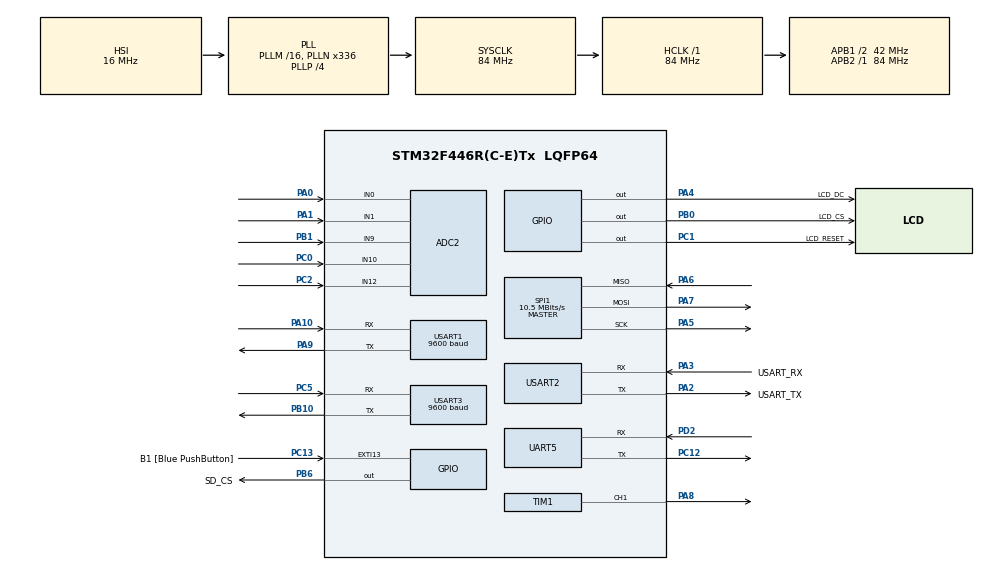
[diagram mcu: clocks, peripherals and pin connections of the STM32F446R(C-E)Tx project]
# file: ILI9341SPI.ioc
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ADC2.Channel-0\#ChannelRegularConversion=ADC_CHANNEL_0
ADC2.Channel-1\#ChannelRegularConversion=ADC_CHANNEL_1
ADC2.Channel-2\#ChannelRegularConversion=ADC_CHANNEL_9
ADC2.Channel-3\#ChannelRegularConversion=ADC_CHANNEL_10
ADC2.Channel-4\#ChannelRegularConversion=ADC_CHANNEL_12
ADC2.ClockPrescaler=ADC_CLOCK_SYNC_PCLK_DIV8
ADC2.ContinuousConvMode=ENABLE
ADC2.DMAContinuousRequests=ENABLE
ADC2.DiscontinuousConvMode=DISABLE
ADC2.EOCSelection=ADC_EOC_SEQ_CONV
ADC2.ExternalTrigConv=ADC_SOFTWARE_START
ADC2.InjNumberOfConversion=0
ADC2.NbrOfConversion=5
ADC2.NbrOfConversionFlag=1
ADC2.Rank-0\#ChannelRegularConversion=1
ADC2.Rank-1\#ChannelRegularConversion=2
ADC2.Rank-2\#ChannelRegularConversion=3
ADC2.Rank-3\#ChannelRegularConversion=4
ADC2.Rank-4\#ChannelRegularConversion=5
ADC2.SamplingTime-0\#ChannelRegularConversion=ADC_SAMPLETIME_480CYCLES
ADC2.SamplingTime-1\#ChannelRegularConversion=ADC_SAMPLETIME_480CYCLES
ADC2.SamplingTime-2\#ChannelRegularConversion=ADC_SAMPLETIME_480CYCLES
ADC2.SamplingTime-3\#ChannelRegularConversion=ADC_SAMPLETIME_480CYCLES
ADC2.SamplingTime-4\#ChannelRegularConversion=ADC_SAMPLETIME_480CYCLES
ADC2.ScanConvMode=ENABLE
Dma.ADC2.1.Direction=DMA_PERIPH_TO_MEMORY
Dma.ADC2.1.FIFOMode=DMA_FIFOMODE_DISABLE
Dma.ADC2.1.Instance=DMA2_Stream2
Dma.ADC2.1.MemDataAlignment=DMA_MDATAALIGN_HALFWORD
Dma.ADC2.1.MemInc=DMA_MINC_ENABLE
Dma.ADC2.1.Mode=DMA_CIRCULAR
Dma.ADC2.1.PeriphDataAlignment=DMA_PDATAALIGN_HALFWORD
Dma.ADC2.1.PeriphInc=DMA_PINC_DISABLE
Dma.ADC2.1.Priority=DMA_PRIORITY_LOW
Dma.Request0=SPI1_TX
Dma.Request1=ADC2
Dma.Request2=TIM1_CH1
Dma.SPI1_TX.0.Direction=DMA_MEMORY_TO_PERIPH
Dma.SPI1_TX.0.FIFOMode=DMA_FIFOMODE_DISABLE
Dma.SPI1_TX.0.Instance=DMA2_Stream3
Dma.SPI1_TX.0.MemDataAlignment=DMA_MDATAALIGN_BYTE
Dma.SPI1_TX.0.MemInc=DMA_MINC_ENABLE
Dma.SPI1_TX.0.Mode=DMA_NORMAL
Dma.SPI1_TX.0.PeriphDataAlignment=DMA_PDATAALIGN_BYTE
Dma.SPI1_TX.0.PeriphInc=DMA_PINC_DISABLE
Dma.SPI1_TX.0.Priority=DMA_PRIORITY_HIGH
Dma.TIM1_CH1.2.Direction=DMA_PERIPH_TO_MEMORY
Dma.TIM1_CH1.2.FIFOMode=DMA_FIFOMODE_DISABLE
Dma.TIM1_CH1.2.Instance=DMA2_Stream1
Dma.TIM1_CH1.2.MemDataAlignment=DMA_MDATAALIGN_HALFWORD
Dma.TIM1_CH1.2.MemInc=DMA_MINC_ENABLE
Dma.TIM1_CH1.2.Mode=DMA_NORMAL
Dma.TIM1_CH1.2.PeriphDataAlignment=DMA_PDATAALIGN_HALFWORD
Dma.TIM1_CH1.2.PeriphInc=DMA_PINC_DISABLE
Dma.TIM1_CH1.2.Priority=DMA_PRIORITY_LOW
FATFS._MAX_SS=4096
FATFS._USE_LFN=1
Mcu.Family=STM32F4
Mcu.Name=STM32F446R(C-E)Tx
Mcu.Package=LQFP64
NVIC.DMA2_Stream1_IRQn=true\:0\:0\:false\:false\:true\:false\:true\:true
NVIC.DMA2_Stream2_IRQn=true\:0\:0\:false\:false\:true\:false\:true\:true
NVIC.DMA2_Stream3_IRQn=true\:0\:0\:false\:false\:true\:false\:true\:true
NVIC.PriorityGroup=NVIC_PRIORITYGROUP_0
NVIC.USART1_IRQn=true\:0\:0\:false\:false\:true\:true\:true\:true
NVIC.USART2_IRQn=true\:0\:0\:false\:false\:true\:true\:true\:true
NVIC.USART3_IRQn=true\:0\:0\:false\:false\:true\:true\:true\:true
PA0-WKUP.Signal=ADCx_IN0
PA1.Signal=ADCx_IN1
PA10.Mode=Asynchronous
PA10.Signal=USART1_RX
PA13.GPIO_Label=TMS
PA13.Mode=Serial_Wire
PA13.Signal=SYS_JTMS-SWDIO
PA14.GPIO_Label=TCK
PA14.Mode=Serial_Wire
PA14.Signal=SYS_JTCK-SWCLK
PA2.GPIO_Label=USART_TX
PA2.Mode=Asynchronous
PA2.Signal=USART2_TX
PA3.GPIO_Label=USART_RX
PA3.Mode=Asynchronous
PA3.Signal=USART2_RX
PA4.GPIO_Label=LCD_DC
PA4.GPIO_Speed=GPIO_SPEED_FREQ_MEDIUM
PA4.Signal=GPIO_Output
PA5.Mode=Full_Duplex_Master
PA5.Signal=SPI1_SCK
PA6.Mode=Full_Duplex_Master
PA6.Signal=SPI1_MISO
PA7.Mode=Full_Duplex_Master
PA7.Signal=SPI1_MOSI
PA8.Signal=S_TIM1_CH1
PA9.Mode=Asynchronous
PA9.Signal=USART1_TX
PB0.GPIO_Label=LCD_CS
PB0.GPIO_Speed=GPIO_SPEED_FREQ_MEDIUM
PB0.Signal=GPIO_Output
PB1.Signal=ADCx_IN9
PB10.Mode=Asynchronous
PB10.Signal=USART3_TX
PB3.GPIO_Label=SWO
PB3.Signal=SYS_JTDO-SWO
PB6.GPIO_Label=SD_CS
PB6.GPIO_Speed=GPIO_SPEED_FREQ_MEDIUM
PB6.Signal=GPIO_Output
PC0.Signal=ADCx_IN10
PC1.GPIO_Label=LCD_RESET
PC1.GPIO_Speed=GPIO_SPEED_FREQ_MEDIUM
PC1.Signal=GPIO_Output
PC12.Mode=Asynchronous
PC12.Signal=UART5_TX
PC13.GPIO_Label=B1 [Blue PushButton]
PC13.GPIO_ModeDefaultEXTI=GPIO_MODE_IT_FALLING
PC13.Signal=GPXTI13
PC14-OSC32_IN.Mode=LSE-External-Oscillator
PC14-OSC32_IN.Signal=RCC_OSC32_IN
PC15-OSC32_OUT.Mode=LSE-External-Oscillator
PC15-OSC32_OUT.Signal=RCC_OSC32_OUT
PC2.Signal=ADCx_IN12
PC5.Mode=Asynchronous
PC5.Signal=USART3_RX
PD2.Mode=Asynchronous
PD2.Signal=UART5_RX
PH0-OSC_IN.Mode=HSE-External-Oscillator
PH0-OSC_IN.Signal=RCC_OSC_IN
PH1-OSC_OUT.Mode=HSE-External-Oscillator
PH1-OSC_OUT.Signal=RCC_OSC_OUT
ProjectManager.HeapSize=0x200
ProjectManager.StackSize=0x400
ProjectManager.TargetToolchain=STM32CubeIDE
RCC.48MHZClocksFreq_Value=84000000
RCC.AHBFreq_Value=84000000
RCC.APB1CLKDivider=RCC_HCLK_DIV2
RCC.APB1Freq_Value=42000000
RCC.APB1TimFreq_Value=84000000
RCC.APB2Freq_Value=84000000
RCC.APB2TimFreq_Value=84000000
RCC.CortexFreq_Value=84000000
RCC.FLatency-AdvancedSettings=FLASH_LATENCY_2
RCC.HCLKFreq_Value=84000000
RCC.HSE_VALUE=8000000
RCC.HSI_VALUE=16000000
RCC.PLLN=336
RCC.PLLP=RCC_PLLP_DIV4
RCC.SYSCLKFreq_VALUE=84000000
RCC.SYSCLKSource=RCC_SYSCLKSOURCE_PLLCLK
RCC.USBFreq_Value=168000000
RCC.VCOOutputFreq_Value=336000000
SH.ADCx_IN0.0=ADC2_IN0,IN0
SH.ADCx_IN1.0=ADC2_IN1,IN1
SH.ADCx_IN10.0=ADC2_IN10,IN10
SH.ADCx_IN12.0=ADC2_IN12,IN12
SH.ADCx_IN9.0=ADC2_IN9,IN9
SH.S_TIM1_CH1.0=TIM1_CH1,PWM Generation1 CH1
SPI1.BaudRatePrescaler=SPI_BAUDRATEPRESCALER_8
SPI1.CalculateBaudRate=10.5 MBits/s
SPI1.Direction=SPI_DIRECTION_2LINES
SPI1.Mode=SPI_MODE_MASTER
SPI1.VirtualType=VM_MASTER
TIM1.Channel-PWM\ Generation1\ CH1=TIM_CHANNEL_1
TIM1.Period=105-1
UART5.VirtualMode=Asynchronous
USART1.BaudRate=9600
USART1.VirtualMode=VM_ASYNC
USART2.VirtualMode=VM_ASYNC
USART3.BaudRate=9600
USART3.VirtualMode=VM_ASYNC
VP_FATFS_VS_Generic.Mode=User_defined
VP_TIM1_VS_ClockSourceINT.Mode=Internal
board=NUCLEO-F446RE

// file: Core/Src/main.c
/* USER CODE BEGIN Header */
/*
 * Este código es la pantalla del videojuego proyecto 2 de electronica digital 2
 * Para este código se implementaron varios conceptos aprendidos en clase
 */
/**
 ******************************************************************************
 * @file           : main.c
 * @brief          : Main program body
 ******************************************************************************
 * @attention
 *
 * Copyright (c) 2024 STMicroelectronics.
 * All rights reserved.
 *
 * This software is licensed under terms that can be found in the LICENSE file
 * in the root directory of this software component.
 * If no LICENSE file comes with this software, it is provided AS-IS.
 *
 ******************************************************************************
 */
/* USER CODE END Header */
#include "main.h"
#include "fatfs.h"

/* USER CODE BEGIN Includes */
//Se incluyen todas las librerias que se van a utilizar.
#include "fatfs_sd.h"
#include "ili9341.h"
#include "bitmaps.h"
#include <stdio.h>
#include <string.h>
#include <stdlib.h>

#include "neopixel.h"
/* USER CODE END Includes */

/* USER CODE BEGIN PTD */
uint8_t dma_libre = 1;
uint8_t cant_cars = 0;
//uint8_t PosCars = 0;
uint8_t sot2 = 0;

uint8_t cant1 = 0;
uint8_t cant2 = 0;

char num;

uint16_t park[68*20];
uint16_t carA[246*68];
uint16_t he[183*80];

uint8_t park1A = 0;
uint8_t park2A = 0;
uint8_t park3A = 0;
uint8_t park4A = 0;
uint8_t park5A = 0;

uint8_t park1B = 0;
uint8_t park2B = 0;
uint8_t park3B = 0;
uint8_t park4B = 0;
uint8_t park5B = 0;
/* USER CODE END PTD */

ADC_HandleTypeDef hadc2;
DMA_HandleTypeDef hdma_adc2;

SPI_HandleTypeDef hspi1;
DMA_HandleTypeDef hdma_spi1_tx;

TIM_HandleTypeDef htim1;
DMA_HandleTypeDef hdma_tim1_ch1;

UART_HandleTypeDef huart5;
UART_HandleTypeDef huart1;
UART_HandleTypeDef huart2;
UART_HandleTypeDef huart3;

/* USER CODE BEGIN PV */
volatile uint16_t ADCVal[5];
volatile uint16_t sotB[4];
volatile uint8_t adc_index = 0;
float brilloled;

/* USER CODE END PV */

void SystemClock_Config(void);
static void MX_GPIO_Init(void);
static void MX_DMA_Init(void);
static void MX_USART2_UART_Init(void);
static void MX_SPI1_Init(void);
static void MX_USART1_UART_Init(void);
static void MX_USART3_UART_Init(void);
static void MX_UART5_Init(void);
static void MX_ADC2_Init(void);
static void MX_TIM1_Init(void);

/* USER CODE BEGIN 0 */

//********************************FUNCIONES VARIAS *********************************//
//-------------------Función para var cantidad de parqueos libres ----------------------

void parqueos_disponiblesA(uint8_t cant)
{
	if(cant == 0)
	{
		LCD_Print("4", 270, 140, 2, 0x053d, 0xe71c);
	}
	else if (cant == 1)
	{
		LCD_Print("3", 270, 140, 2, 0x053d, 0xe71c);
	}
	else if (cant == 2)
		{
		LCD_Print("2", 270, 140, 2, 0x053d, 0xe71c);
		}
	else if (cant == 3)
		{
		LCD_Print("1", 270, 140, 2, 0x053d, 0xe71c);
		}
	else if (cant == 4)
		{
		LCD_Print("0", 270, 140, 2, 0x053d, 0xe71c);
		}
	//Logica de envio de datos a la LCD o Display
}

void parqueos_disponiblesB(uint8_t cant)
{
	if (cant == 0)
		{
			LCD_Print("4", 270, 177, 2, 0x053d, 0xe71c);
		}
	else if (cant == 1)
		{
			LCD_Print("3",270, 177, 2, 0x053d, 0xe71c);
		}
	else if (cant == 2)
		{
			LCD_Print("2",270, 177, 2, 0x053d, 0xe71c);
		}
	else if (cant == 3)
		{
			LCD_Print("1",270, 177, 2, 0x053d, 0xe71c);
		}
	else if (cant == 4)
		{
			LCD_Print("0",270, 177, 2, 0x053d, 0xe71c);
		}
}

void borrar_sprite(int x, int y, int w, int h)
{
    for (int j = 0; j < h; j++)
    {
        for (int i = 0; i < w; i++)
        {
            uint16_t pixel = parking[(y + j) * 320 + (x + i)];
            park[j * w + i] = (pixel << 8) | (pixel >> 8);
        }
    }

    while(!dma_libre);
    dma_libre = 0;
    LCD_Bitmap_DMA(x, y, w, h, park);

}

void actualizar_leds(void)
{
    // Parqueos A
    for (int i = 0; i < 5; i++)
    {
        if (ADCVal[i] < 1600) // ocupado
        {
            setPixelColor(i, 255, 0, 0); // ROJO
        }
        else
        {
            setPixelColor(i, 0, 255, 0); // VERDE
        }
    }
    pixelShow();
}

/* USER CODE END 0 */

int main(void)
{

  /* MCU Configuration--------------------------------------------------------*/

  /* Reset of all peripherals, Initializes the Flash interface and the Systick. */
  HAL_Init();

  /* Configure the system clock */
  SystemClock_Config();

  /* Initialize all configured peripherals */
  MX_GPIO_Init();
  MX_DMA_Init();
  MX_USART2_UART_Init();
  MX_SPI1_Init();
  MX_USART1_UART_Init();
  MX_USART3_UART_Init();
  MX_FATFS_Init();
  MX_UART5_Init();
  MX_ADC2_Init();
  MX_TIM1_Init();
  /* USER CODE BEGIN 2 */
	LCD_Init();
	LCD_Clear(0x00);

	HAL_TIM_PWM_Start(&htim1, TIM_CHANNEL_1);
	HAL_ADC_Start_DMA(&hadc2, (uint32_t *)ADCVal, 5);
	LCD_Bitmap(0, 0, 320, 240, parking);
	LCD_Print("0", 270, 140, 2, 0x053d, 0xe71c); // Numero inicial en A
	LCD_Print("0", 270, 177, 2, 0x053d, 0xe71c); // Numero inicial en B

	LCD_DibujarSpriteUniversal(260, 205, 34, 20, semaforo, 1, 68, parking, 320, 0xe71c, park);

	pixelClear();
	setBrightness(50); // o el valor que quieras
	pixelShow();

  /* USER CODE END 2 */

  /* Infinite loop */
  /* USER CODE BEGIN WHILE */
	uint32_t ultimo_print_uart = 0;

	char uart_buf[100];

	while (1) {
		//Logica para detección parqueo ocupado y Animació

	if (HAL_GetTick() - ultimo_print_uart >= 500) {
				ultimo_print_uart = HAL_GetTick();

				sprintf(uart_buf, "CH0: %u | CH1: %u | CH9: %u | CH10: %u\r\n",
						ADCVal[0], ADCVal[1], ADCVal[2], ADCVal[3]);

				HAL_UART_Transmit(&huart2, (uint8_t *)uart_buf, strlen(uart_buf), 100);
			}
	//-------------------------Parqueo A1 animación--------------------------
	if (ADCVal[0]<1600)
	{
		if (park1A == 0)
		{
			uint8_t val = rand() % 6;
			park1A = 1;
			LCD_DibujarSpriteUniversal(12, 10, 41, 68, carroA, val, 246, parking, 320, 0xa501, carA);
			LCD_DibujarSpriteUniversal(14, 90, 34, 20, semaforo, 0, 68, parking, 320, 0xe71c, park);
			cant1++;
			parqueos_disponiblesA(cant1);
		}
	}

	else if (ADCVal[0]>1800)
	{
		if (park1A == 1)
		{
			park1A = 0;
			borrar_sprite(12, 10, 41, 68);
			LCD_DibujarSpriteUniversal(14, 90, 34, 20, semaforo, 1, 68, parking, 320, 0xe71c, park);
			cant1--;
			parqueos_disponiblesA(cant1);
		}

	}

	//-------------------------Parqueo A2 animación--------------------------
	if (ADCVal[1]<1600)
	{
		if (park2A == 0)
		{
			park2A = 1;
			uint8_t val = rand() % 6;
			LCD_DibujarSpriteUniversal(60, 10, 41, 68, carroA, val, 246, parking, 320, 0xa501, carA);
			LCD_DibujarSpriteUniversal(65, 90, 34, 20, semaforo, 0, 68, parking, 320, 0xe71c, park);
			cant1++;
			parqueos_disponiblesA(cant1);
		}
	}

	else if (ADCVal[1]>1600)
	{
		if (park2A == 1)
		{
			park2A = 0;
			borrar_sprite(60, 10, 41, 68);
			LCD_DibujarSpriteUniversal(65, 90, 34, 20, semaforo, 1, 68, parking, 320, 0xe71c, park);
			cant1--;
			parqueos_disponiblesA(cant1);
		}
	}

	//-------------------------Parqueo A3 animación--------------------------
	if (ADCVal[2]<1500)
	{
		if (park3A == 0)
		{
			uint8_t val = rand() % 6;
			park3A = 1;
			LCD_DibujarSpriteUniversal(109, 10, 41, 68, carroA, val, 246, parking, 320, 0xa501, carA);
			LCD_DibujarSpriteUniversal(112, 90, 34, 20, semaforo, 0, 68, parking, 320, 0xe71c, park);
			cant1++;
			parqueos_disponiblesA(cant1);
		}
	}

	else if (ADCVal[2]>1500)
	{
		if (park3A == 1)
		{
			park3A = 0;
			borrar_sprite(109, 10, 41, 68);
			LCD_DibujarSpriteUniversal(112, 90, 34, 20, semaforo, 1, 68, parking, 320, 0xe71c, park);
			cant1--;
			parqueos_disponiblesA(cant1);
		}
	}

	//-------------------------Parqueo A4 animación--------------------------
	if (ADCVal[3]<1500)
	{
		if (park4A == 0)
		{
			uint8_t val = rand() % 6;
			park4A = 1;
			LCD_DibujarSpriteUniversal(156, 10, 41, 68, carroA, val, 246, parking, 320, 0xa501, carA);
			LCD_DibujarSpriteUniversal(160, 90, 34, 20, semaforo, 0, 68, parking, 320, 0xe71c, park);
			cant1++;
			parqueos_disponiblesA(cant1);
		}
	}

	else if (ADCVal[3]>1500)
	{
		if (park4A == 1)
		{
			park4A = 0;
			borrar_sprite(156, 10, 41, 68);
			LCD_DibujarSpriteUniversal(160, 90, 34, 20, semaforo, 1, 68, parking, 320, 0xe71c, park);
			cant1--;
			parqueos_disponiblesA(cant1);
		}
	}

	//-------------------------Parqueo Helipuerto animación--------------------------
	if (ADCVal[4]<1500)
		{
			if (park5A == 0)
			{
				park5A = 1;
				LCD_DibujarSpriteUniversal(232, 10, 61, 80, helicop, 1, 183, parking, 320, 0xa501, he);
				LCD_DibujarSpriteUniversal(260, 205, 34, 20, semaforo, 0, 68, parking, 320, 0xe71c, park);
			}

			//parqueos_disponiblesA(cant1);
		}

	else if (ADCVal[4]>1500)
	{
		if (park5A == 1)
		{
			park5A = 0;
			borrar_sprite(232, 10, 61, 80);
			LCD_DibujarSpriteUniversal(260, 205, 34, 20, semaforo, 1, 68, parking, 320, 0xe71c, park);
		}

	}

	//-------------------------Parqueo B1 animación--------------------------
	if (sotB[0] == 1)
		{
			if (park1B == 0)
			{
				uint8_t val = rand() % 6;
				park1B = 1;
				LCD_DibujarSpriteUniversal(9, 163, 41, 68, carroB, val, 246, parking, 320, 0xa501, carA);
				LCD_DibujarSpriteUniversal(12, 130, 34, 20, semaforo, 0, 68, parking, 320, 0xe71c, park);
				cant2++;
				parqueos_disponiblesB(cant2);
			}
		}

		else if (sotB[0] == 0)
		{
			if (park1B == 1)
			{
				park1B = 0;
				borrar_sprite(9, 163, 41, 68);
				//LCD_DibujarSpriteUniversal(60, 10, 41, 68, carroB, 2, 246, parking, 320, 0x8410, carB);
				LCD_DibujarSpriteUniversal(12, 130, 34, 20, semaforo, 1, 68, parking, 320, 0xe71c, park);
				cant2--;
				parqueos_disponiblesB(cant2);
			}
		}

	//-------------------------Parqueo B2 animación--------------------------
		if (sotB[1] == 1)
		{
			if (park2B == 0)
			{
				park2B = 1;
				uint8_t val = rand() % 6;
				LCD_DibujarSpriteUniversal(58, 163, 41, 68, carroB, val, 246, parking, 320, 0xa501, carA);
				LCD_DibujarSpriteUniversal(63, 130, 34, 20, semaforo, 0, 68, parking, 320, 0xe71c, park);
				cant2++;
				parqueos_disponiblesB(cant2);
			}
		}

		else if (sotB[1] == 0)
		{
			if (park2B == 1)
			{
				park2B = 0;
				borrar_sprite(58, 163, 41, 68);
				LCD_DibujarSpriteUniversal(63, 130, 34, 20, semaforo, 1, 68, parking, 320, 0xe71c, park);
				cant2--;
				parqueos_disponiblesB(cant2);
			}
		}

	//-------------------------Parqueo B3 animación--------------------------
		if (sotB[2] == 1)
		{
			if (park3B == 0)
			{
				uint8_t val = rand() % 6;
				park3B = 1;
				LCD_DibujarSpriteUniversal(107, 163, 41, 68, carroB, val, 246, parking, 320, 0xa501, carA);
				LCD_DibujarSpriteUniversal(110, 130, 34, 20, semaforo, 0, 68, parking, 320, 0xe71c, park);
				cant2++;
				parqueos_disponiblesB(cant2);
			}
		}

		else if (sotB[2] == 0)
		{
			if (park3B == 1)
			{
				park3B = 0;
				borrar_sprite(107, 163, 41, 68);
				LCD_DibujarSpriteUniversal(110, 130, 34, 20, semaforo, 1, 68, parking, 320, 0xe71c, park);
				cant2--;
				parqueos_disponiblesB(cant2);
			}
		}

		//-------------------------Parqueo B4 animación--------------------------
		if (sotB[3] == 1)
		{
			if (park4B == 0)
			{
				uint8_t val = rand() % 6;
				park4B = 1;
				LCD_DibujarSpriteUniversal(155, 163, 41, 68, carroB, val, 246, parking, 320, 0xa501, carA);
				LCD_DibujarSpriteUniversal(158, 130, 34, 20, semaforo, 0, 68, parking, 320, 0xe71c, park);
				cant2++;
				parqueos_disponiblesB(cant2);
			}
		}

		else if (sotB[3] == 0)
		{
			if (park4B == 1)
			{
				park4B = 0;
				borrar_sprite(155, 163, 41, 68);
				LCD_DibujarSpriteUniversal(158, 130, 34, 20, semaforo, 1, 68, parking, 320, 0xe71c, park);
				cant2--;
				parqueos_disponiblesB(cant2);
			}
		}

		actualizar_leds();
    /* USER CODE END WHILE */

	}
}

void SystemClock_Config(void)
{
  RCC_OscInitTypeDef RCC_OscInitStruct = {0};
  RCC_ClkInitTypeDef RCC_ClkInitStruct = {0};

  /** Configure the main internal regulator output voltage
  */
  __HAL_RCC_PWR_CLK_ENABLE();
  __HAL_PWR_VOLTAGESCALING_CONFIG(PWR_REGULATOR_VOLTAGE_SCALE3);

  /** Initializes the RCC Oscillators according to the specified parameters
  * in the RCC_OscInitTypeDef structure.
  */
  RCC_OscInitStruct.OscillatorType = RCC_OSCILLATORTYPE_HSI;
  RCC_OscInitStruct.HSIState = RCC_HSI_ON;
  RCC_OscInitStruct.HSICalibrationValue = RCC_HSICALIBRATION_DEFAULT;
  RCC_OscInitStruct.PLL.PLLState = RCC_PLL_ON;
  RCC_OscInitStruct.PLL.PLLSource = RCC_PLLSOURCE_HSI;
  RCC_OscInitStruct.PLL.PLLM = 16;
  RCC_OscInitStruct.PLL.PLLN = 336;
  RCC_OscInitStruct.PLL.PLLP = RCC_PLLP_DIV4;
  RCC_OscInitStruct.PLL.PLLQ = 2;
  RCC_OscInitStruct.PLL.PLLR = 2;
  if (HAL_RCC_OscConfig(&RCC_OscInitStruct) != HAL_OK)
  {
    Error_Handler();
  }

  /** Initializes the CPU, AHB and APB buses clocks
  */
  RCC_ClkInitStruct.ClockType = RCC_CLOCKTYPE_HCLK|RCC_CLOCKTYPE_SYSCLK
                              |RCC_CLOCKTYPE_PCLK1|RCC_CLOCKTYPE_PCLK2;
  RCC_ClkInitStruct.SYSCLKSource = RCC_SYSCLKSOURCE_PLLCLK;
  RCC_ClkInitStruct.AHBCLKDivider = RCC_SYSCLK_DIV1;
  RCC_ClkInitStruct.APB1CLKDivider = RCC_HCLK_DIV2;
  RCC_ClkInitStruct.APB2CLKDivider = RCC_HCLK_DIV1;

  if (HAL_RCC_ClockConfig(&RCC_ClkInitStruct, FLASH_LATENCY_2) != HAL_OK)
  {
    Error_Handler();
  }
}

static void MX_ADC2_Init(void)
{

  ADC_ChannelConfTypeDef sConfig = {0};

  /** Configure the global features of the ADC (Clock, Resolution, Data Alignment and number of conversion)
  */
  hadc2.Instance = ADC2;
  hadc2.Init.ClockPrescaler = ADC_CLOCK_SYNC_PCLK_DIV8;
  hadc2.Init.Resolution = ADC_RESOLUTION_12B;
  hadc2.Init.ScanConvMode = ENABLE;
  hadc2.Init.ContinuousConvMode = ENABLE;
  hadc2.Init.DiscontinuousConvMode = DISABLE;
  hadc2.Init.ExternalTrigConvEdge = ADC_EXTERNALTRIGCONVEDGE_NONE;
  hadc2.Init.ExternalTrigConv = ADC_SOFTWARE_START;
  hadc2.Init.DataAlign = ADC_DATAALIGN_RIGHT;
  hadc2.Init.NbrOfConversion = 5;
  hadc2.Init.DMAContinuousRequests = ENABLE;
  hadc2.Init.EOCSelection = ADC_EOC_SEQ_CONV;
  if (HAL_ADC_Init(&hadc2) != HAL_OK)
  {
    Error_Handler();
  }

  /** Configure for the selected ADC regular channel its corresponding rank in the sequencer and its sample time.
  */
  sConfig.Channel = ADC_CHANNEL_0;
  sConfig.Rank = 1;
  sConfig.SamplingTime = ADC_SAMPLETIME_480CYCLES;
  if (HAL_ADC_ConfigChannel(&hadc2, &sConfig) != HAL_OK)
  {
    Error_Handler();
  }

  /** Configure for the selected ADC regular channel its corresponding rank in the sequencer and its sample time.
  */
  sConfig.Channel = ADC_CHANNEL_1;
  sConfig.Rank = 2;
  if (HAL_ADC_ConfigChannel(&hadc2, &sConfig) != HAL_OK)
  {
    Error_Handler();
  }

  /** Configure for the selected ADC regular channel its corresponding rank in the sequencer and its sample time.
  */
  sConfig.Channel = ADC_CHANNEL_9;
  sConfig.Rank = 3;
  if (HAL_ADC_ConfigChannel(&hadc2, &sConfig) != HAL_OK)
  {
    Error_Handler();
  }

  /** Configure for the selected ADC regular channel its corresponding rank in the sequencer and its sample time.
  */
  sConfig.Channel = ADC_CHANNEL_10;
  sConfig.Rank = 4;
  if (HAL_ADC_ConfigChannel(&hadc2, &sConfig) != HAL_OK)
  {
    Error_Handler();
  }

  /** Configure for the selected ADC regular channel its corresponding rank in the sequencer and its sample time.
  */
  sConfig.Channel = ADC_CHANNEL_12;
  sConfig.Rank = 5;
  if (HAL_ADC_ConfigChannel(&hadc2, &sConfig) != HAL_OK)
  {
    Error_Handler();
  }

}

static void MX_SPI1_Init(void)
{

  /* SPI1 parameter configuration*/
  hspi1.Instance = SPI1;
  hspi1.Init.Mode = SPI_MODE_MASTER;
  hspi1.Init.Direction = SPI_DIRECTION_2LINES;
  hspi1.Init.DataSize = SPI_DATASIZE_8BIT;
  hspi1.Init.CLKPolarity = SPI_POLARITY_LOW;
  hspi1.Init.CLKPhase = SPI_PHASE_1EDGE;
  hspi1.Init.NSS = SPI_NSS_SOFT;
  hspi1.Init.BaudRatePrescaler = SPI_BAUDRATEPRESCALER_8;
  hspi1.Init.FirstBit = SPI_FIRSTBIT_MSB;
  hspi1.Init.TIMode = SPI_TIMODE_DISABLE;
  hspi1.Init.CRCCalculation = SPI_CRCCALCULATION_DISABLE;
  hspi1.Init.CRCPolynomial = 10;
  if (HAL_SPI_Init(&hspi1) != HAL_OK)
  {
    Error_Handler();
  }

}

static void MX_TIM1_Init(void)
{

  TIM_ClockConfigTypeDef sClockSourceConfig = {0};
  TIM_MasterConfigTypeDef sMasterConfig = {0};
  TIM_OC_InitTypeDef sConfigOC = {0};
  TIM_BreakDeadTimeConfigTypeDef sBreakDeadTimeConfig = {0};

  htim1.Instance = TIM1;
  htim1.Init.Prescaler = 0;
  htim1.Init.CounterMode = TIM_COUNTERMODE_UP;
  htim1.Init.Period = 105-1;
  htim1.Init.ClockDivision = TIM_CLOCKDIVISION_DIV1;
  htim1.Init.RepetitionCounter = 0;
  htim1.Init.AutoReloadPreload = TIM_AUTORELOAD_PRELOAD_DISABLE;
  if (HAL_TIM_Base_Init(&htim1) != HAL_OK)
  {
    Error_Handler();
  }
  sClockSourceConfig.ClockSource = TIM_CLOCKSOURCE_INTERNAL;
  if (HAL_TIM_ConfigClockSource(&htim1, &sClockSourceConfig) != HAL_OK)
  {
    Error_Handler();
  }
  if (HAL_TIM_PWM_Init(&htim1) != HAL_OK)
  {
    Error_Handler();
  }
  sMasterConfig.MasterOutputTrigger = TIM_TRGO_RESET;
  sMasterConfig.MasterSlaveMode = TIM_MASTERSLAVEMODE_DISABLE;
  if (HAL_TIMEx_MasterConfigSynchronization(&htim1, &sMasterConfig) != HAL_OK)
  {
    Error_Handler();
  }
  sConfigOC.OCMode = TIM_OCMODE_PWM1;
  sConfigOC.Pulse = 0;
  sConfigOC.OCPolarity = TIM_OCPOLARITY_HIGH;
  sConfigOC.OCNPolarity = TIM_OCNPOLARITY_HIGH;
  sConfigOC.OCFastMode = TIM_OCFAST_DISABLE;
  sConfigOC.OCIdleState = TIM_OCIDLESTATE_RESET;
  sConfigOC.OCNIdleState = TIM_OCNIDLESTATE_RESET;
  if (HAL_TIM_PWM_ConfigChannel(&htim1, &sConfigOC, TIM_CHANNEL_1) != HAL_OK)
  {
    Error_Handler();
  }
  sBreakDeadTimeConfig.OffStateRunMode = TIM_OSSR_DISABLE;
  sBreakDeadTimeConfig.OffStateIDLEMode = TIM_OSSI_DISABLE;
  sBreakDeadTimeConfig.LockLevel = TIM_LOCKLEVEL_OFF;
  sBreakDeadTimeConfig.DeadTime = 0;
  sBreakDeadTimeConfig.BreakState = TIM_BREAK_DISABLE;
  sBreakDeadTimeConfig.BreakPolarity = TIM_BREAKPOLARITY_HIGH;
  sBreakDeadTimeConfig.AutomaticOutput = TIM_AUTOMATICOUTPUT_DISABLE;
  if (HAL_TIMEx_ConfigBreakDeadTime(&htim1, &sBreakDeadTimeConfig) != HAL_OK)
  {
    Error_Handler();
  }
  HAL_TIM_MspPostInit(&htim1);

}

static void MX_UART5_Init(void)
{

  huart5.Instance = UART5;
  huart5.Init.BaudRate = 115200;
  huart5.Init.WordLength = UART_WORDLENGTH_8B;
  huart5.Init.StopBits = UART_STOPBITS_1;
  huart5.Init.Parity = UART_PARITY_NONE;
  huart5.Init.Mode = UART_MODE_TX_RX;
  huart5.Init.HwFlowCtl = UART_HWCONTROL_NONE;
  huart5.Init.OverSampling = UART_OVERSAMPLING_16;
  if (HAL_UART_Init(&huart5) != HAL_OK)
  {
    Error_Handler();
  }

}

static void MX_USART1_UART_Init(void)
{

  huart1.Instance = USART1;
  huart1.Init.BaudRate = 9600;
  huart1.Init.WordLength = UART_WORDLENGTH_8B;
  huart1.Init.StopBits = UART_STOPBITS_1;
  huart1.Init.Parity = UART_PARITY_NONE;
  huart1.Init.Mode = UART_MODE_TX_RX;
  huart1.Init.HwFlowCtl = UART_HWCONTROL_NONE;
  huart1.Init.OverSampling = UART_OVERSAMPLING_16;
  if (HAL_UART_Init(&huart1) != HAL_OK)
  {
    Error_Handler();
  }

}

static void MX_USART2_UART_Init(void)
{

  huart2.Instance = USART2;
  huart2.Init.BaudRate = 115200;
  huart2.Init.WordLength = UART_WORDLENGTH_8B;
  huart2.Init.StopBits = UART_STOPBITS_1;
  huart2.Init.Parity = UART_PARITY_NONE;
  huart2.Init.Mode = UART_MODE_TX_RX;
  huart2.Init.HwFlowCtl = UART_HWCONTROL_NONE;
  huart2.Init.OverSampling = UART_OVERSAMPLING_16;
  if (HAL_UART_Init(&huart2) != HAL_OK)
  {
    Error_Handler();
  }

}

static void MX_USART3_UART_Init(void)
{

  huart3.Instance = USART3;
  huart3.Init.BaudRate = 9600;
  huart3.Init.WordLength = UART_WORDLENGTH_8B;
  huart3.Init.StopBits = UART_STOPBITS_1;
  huart3.Init.Parity = UART_PARITY_NONE;
  huart3.Init.Mode = UART_MODE_TX_RX;
  huart3.Init.HwFlowCtl = UART_HWCONTROL_NONE;
  huart3.Init.OverSampling = UART_OVERSAMPLING_16;
  if (HAL_UART_Init(&huart3) != HAL_OK)
  {
    Error_Handler();
  }

}

static void MX_DMA_Init(void)
{

  /* DMA controller clock enable */
  __HAL_RCC_DMA2_CLK_ENABLE();

  /* DMA interrupt init */
  /* DMA2_Stream1_IRQn interrupt configuration */
  HAL_NVIC_SetPriority(DMA2_Stream1_IRQn, 0, 0);
  HAL_NVIC_EnableIRQ(DMA2_Stream1_IRQn);
  /* DMA2_Stream2_IRQn interrupt configuration */
  HAL_NVIC_SetPriority(DMA2_Stream2_IRQn, 0, 0);
  HAL_NVIC_EnableIRQ(DMA2_Stream2_IRQn);
  /* DMA2_Stream3_IRQn interrupt configuration */
  HAL_NVIC_SetPriority(DMA2_Stream3_IRQn, 0, 0);
  HAL_NVIC_EnableIRQ(DMA2_Stream3_IRQn);

}

static void MX_GPIO_Init(void)
{
  GPIO_InitTypeDef GPIO_InitStruct = {0};

  /* GPIO Ports Clock Enable */
  __HAL_RCC_GPIOC_CLK_ENABLE();
  __HAL_RCC_GPIOH_CLK_ENABLE();
  __HAL_RCC_GPIOA_CLK_ENABLE();
  __HAL_RCC_GPIOB_CLK_ENABLE();
  __HAL_RCC_GPIOD_CLK_ENABLE();

  /*Configure GPIO pin Output Level */
  HAL_GPIO_WritePin(LCD_RESET_GPIO_Port, LCD_RESET_Pin, GPIO_PIN_RESET);

  /*Configure GPIO pin Output Level */
  HAL_GPIO_WritePin(LCD_DC_GPIO_Port, LCD_DC_Pin, GPIO_PIN_RESET);

  /*Configure GPIO pin Output Level */
  HAL_GPIO_WritePin(GPIOB, LCD_CS_Pin|SD_CS_Pin, GPIO_PIN_RESET);

  /*Configure GPIO pin : B1_Pin */
  GPIO_InitStruct.Pin = B1_Pin;
  GPIO_InitStruct.Mode = GPIO_MODE_IT_FALLING;
  GPIO_InitStruct.Pull = GPIO_NOPULL;
  HAL_GPIO_Init(B1_GPIO_Port, &GPIO_InitStruct);

  /*Configure GPIO pin : LCD_RESET_Pin */
  GPIO_InitStruct.Pin = LCD_RESET_Pin;
  GPIO_InitStruct.Mode = GPIO_MODE_OUTPUT_PP;
  GPIO_InitStruct.Pull = GPIO_NOPULL;
  GPIO_InitStruct.Speed = GPIO_SPEED_FREQ_MEDIUM;
  HAL_GPIO_Init(LCD_RESET_GPIO_Port, &GPIO_InitStruct);

  /*Configure GPIO pin : LCD_DC_Pin */
  GPIO_InitStruct.Pin = LCD_DC_Pin;
  GPIO_InitStruct.Mode = GPIO_MODE_OUTPUT_PP;
  GPIO_InitStruct.Pull = GPIO_NOPULL;
  GPIO_InitStruct.Speed = GPIO_SPEED_FREQ_MEDIUM;
  HAL_GPIO_Init(LCD_DC_GPIO_Port, &GPIO_InitStruct);

  /*Configure GPIO pins : LCD_CS_Pin SD_CS_Pin */
  GPIO_InitStruct.Pin = LCD_CS_Pin|SD_CS_Pin;
  GPIO_InitStruct.Mode = GPIO_MODE_OUTPUT_PP;
  GPIO_InitStruct.Pull = GPIO_NOPULL;
  GPIO_InitStruct.Speed = GPIO_SPEED_FREQ_MEDIUM;
  HAL_GPIO_Init(GPIOB, &GPIO_InitStruct);

}

/* USER CODE BEGIN 4 */

void HAL_SPI_TxCpltCallback(SPI_HandleTypeDef *hspi) {
    if (hspi->Instance == SPI1) {
        dma_libre = 1;
    }
}

/* USER CODE END 4 */

void Error_Handler(void)
{
	__disable_irq();
	while (1) {
	}
}
